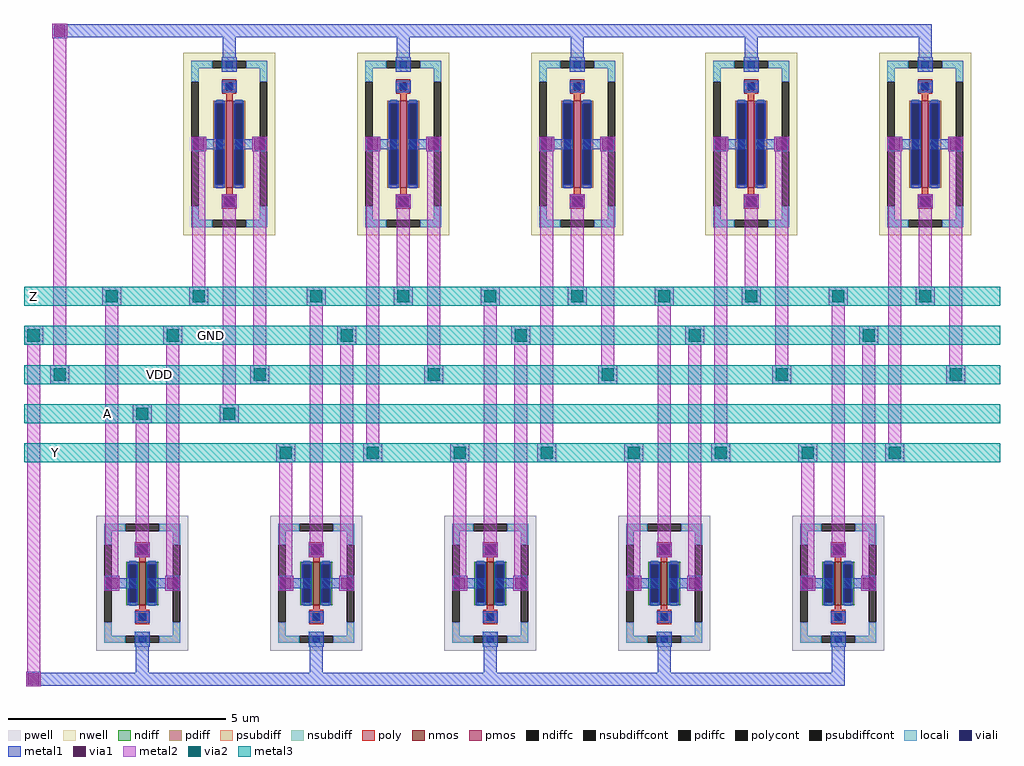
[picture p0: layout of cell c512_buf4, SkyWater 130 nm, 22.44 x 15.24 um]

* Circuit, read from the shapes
.subckt c512_buf4 Y A VDD GND
XM1 GND A Z GND sky130_fd_pr__nfet_01v8 w=1 l=0.15
XM2 GND Z Y GND sky130_fd_pr__nfet_01v8 w=1 l=0.15 m=4
XM3 VDD A Z VDD sky130_fd_pr__pfet_01v8 w=2 l=0.15
XM4 VDD Z Y VDD sky130_fd_pr__pfet_01v8 w=2 l=0.15 m=4
.ends

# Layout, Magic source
magic
tech sky130A
magscale 1 2
<< pwell >>
rect 389 -310 811 310
rect 1189 -310 1611 310
rect 1989 -310 2411 310
rect 2789 -310 3211 310
rect 3589 -310 4011 310
<< nmos >>
rect 585 -100 615 100
rect 1385 -100 1415 100
rect 2185 -100 2215 100
rect 2985 -100 3015 100
rect 3785 -100 3815 100
<< ndiff >>
rect 527 88 585 100
rect 527 -88 539 88
rect 573 -88 585 88
rect 527 -100 585 -88
rect 615 88 673 100
rect 615 -88 627 88
rect 661 -88 673 88
rect 615 -100 673 -88
rect 1327 88 1385 100
rect 1327 -88 1339 88
rect 1373 -88 1385 88
rect 1327 -100 1385 -88
rect 1415 88 1473 100
rect 1415 -88 1427 88
rect 1461 -88 1473 88
rect 1415 -100 1473 -88
rect 2127 88 2185 100
rect 2127 -88 2139 88
rect 2173 -88 2185 88
rect 2127 -100 2185 -88
rect 2215 88 2273 100
rect 2215 -88 2227 88
rect 2261 -88 2273 88
rect 2215 -100 2273 -88
rect 2927 88 2985 100
rect 2927 -88 2939 88
rect 2973 -88 2985 88
rect 2927 -100 2985 -88
rect 3015 88 3073 100
rect 3015 -88 3027 88
rect 3061 -88 3073 88
rect 3015 -100 3073 -88
rect 3727 88 3785 100
rect 3727 -88 3739 88
rect 3773 -88 3785 88
rect 3727 -100 3785 -88
rect 3815 88 3873 100
rect 3815 -88 3827 88
rect 3861 -88 3873 88
rect 3815 -100 3873 -88
<< ndiffc >>
rect 539 -88 573 88
rect 627 -88 661 88
rect 1339 -88 1373 88
rect 1427 -88 1461 88
rect 2139 -88 2173 88
rect 2227 -88 2261 88
rect 2939 -88 2973 88
rect 3027 -88 3061 88
rect 3739 -88 3773 88
rect 3827 -88 3861 88
<< psubdiff >>
rect 425 240 521 274
rect 679 240 775 274
rect 425 178 459 240
rect 741 178 775 240
rect 425 -240 459 -178
rect 741 -240 775 -178
rect 425 -274 521 -240
rect 679 -274 775 -240
rect 1225 240 1321 274
rect 1479 240 1575 274
rect 1225 178 1259 240
rect 1541 178 1575 240
rect 1225 -240 1259 -178
rect 1541 -240 1575 -178
rect 1225 -274 1321 -240
rect 1479 -274 1575 -240
rect 2025 240 2121 274
rect 2279 240 2375 274
rect 2025 178 2059 240
rect 2341 178 2375 240
rect 2025 -240 2059 -178
rect 2341 -240 2375 -178
rect 2025 -274 2121 -240
rect 2279 -274 2375 -240
rect 2825 240 2921 274
rect 3079 240 3175 274
rect 2825 178 2859 240
rect 3141 178 3175 240
rect 2825 -240 2859 -178
rect 3141 -240 3175 -178
rect 2825 -274 2921 -240
rect 3079 -274 3175 -240
rect 3625 240 3721 274
rect 3879 240 3975 274
rect 3625 178 3659 240
rect 3941 178 3975 240
rect 3625 -240 3659 -178
rect 3941 -240 3975 -178
rect 3625 -274 3721 -240
rect 3879 -274 3975 -240
<< psubdiffcont >>
rect 521 240 679 274
rect 425 -178 459 178
rect 741 -178 775 178
rect 521 -274 679 -240
rect 1321 240 1479 274
rect 1225 -178 1259 178
rect 1541 -178 1575 178
rect 1321 -274 1479 -240
rect 2121 240 2279 274
rect 2025 -178 2059 178
rect 2341 -178 2375 178
rect 2121 -274 2279 -240
rect 2921 240 3079 274
rect 2825 -178 2859 178
rect 3141 -178 3175 178
rect 2921 -274 3079 -240
rect 3721 240 3879 274
rect 3625 -178 3659 178
rect 3941 -178 3975 178
rect 3721 -274 3879 -240
<< poly >>
rect 567 172 633 188
rect 567 138 583 172
rect 617 138 633 172
rect 567 122 633 138
rect 585 100 615 122
rect 585 -122 615 -100
rect 567 -138 633 -122
rect 567 -172 583 -138
rect 617 -172 633 -138
rect 567 -188 633 -172
rect 967 2301 1033 2317
rect 967 2267 983 2301
rect 1017 2267 1033 2301
rect 967 2251 1033 2267
rect 985 2220 1015 2251
rect 985 1789 1015 1820
rect 967 1773 1033 1789
rect 967 1739 983 1773
rect 1017 1739 1033 1773
rect 967 1723 1033 1739
rect 1367 172 1433 188
rect 1367 138 1383 172
rect 1417 138 1433 172
rect 1367 122 1433 138
rect 1385 100 1415 122
rect 1385 -122 1415 -100
rect 1367 -138 1433 -122
rect 1367 -172 1383 -138
rect 1417 -172 1433 -138
rect 1367 -188 1433 -172
rect 1767 2301 1833 2317
rect 1767 2267 1783 2301
rect 1817 2267 1833 2301
rect 1767 2251 1833 2267
rect 1785 2220 1815 2251
rect 1785 1789 1815 1820
rect 1767 1773 1833 1789
rect 1767 1739 1783 1773
rect 1817 1739 1833 1773
rect 1767 1723 1833 1739
rect 2167 172 2233 188
rect 2167 138 2183 172
rect 2217 138 2233 172
rect 2167 122 2233 138
rect 2185 100 2215 122
rect 2185 -122 2215 -100
rect 2167 -138 2233 -122
rect 2167 -172 2183 -138
rect 2217 -172 2233 -138
rect 2167 -188 2233 -172
rect 2567 2301 2633 2317
rect 2567 2267 2583 2301
rect 2617 2267 2633 2301
rect 2567 2251 2633 2267
rect 2585 2220 2615 2251
rect 2585 1789 2615 1820
rect 2567 1773 2633 1789
rect 2567 1739 2583 1773
rect 2617 1739 2633 1773
rect 2567 1723 2633 1739
rect 2967 172 3033 188
rect 2967 138 2983 172
rect 3017 138 3033 172
rect 2967 122 3033 138
rect 2985 100 3015 122
rect 2985 -122 3015 -100
rect 2967 -138 3033 -122
rect 2967 -172 2983 -138
rect 3017 -172 3033 -138
rect 2967 -188 3033 -172
rect 3367 2301 3433 2317
rect 3367 2267 3383 2301
rect 3417 2267 3433 2301
rect 3367 2251 3433 2267
rect 3385 2220 3415 2251
rect 3385 1789 3415 1820
rect 3367 1773 3433 1789
rect 3367 1739 3383 1773
rect 3417 1739 3433 1773
rect 3367 1723 3433 1739
rect 3767 172 3833 188
rect 3767 138 3783 172
rect 3817 138 3833 172
rect 3767 122 3833 138
rect 3785 100 3815 122
rect 3785 -122 3815 -100
rect 3767 -138 3833 -122
rect 3767 -172 3783 -138
rect 3817 -172 3833 -138
rect 3767 -188 3833 -172
rect 4167 2301 4233 2317
rect 4167 2267 4183 2301
rect 4217 2267 4233 2301
rect 4167 2251 4233 2267
rect 4185 2220 4215 2251
rect 4185 1789 4215 1820
rect 4167 1773 4233 1789
rect 4167 1739 4183 1773
rect 4217 1739 4233 1773
rect 4167 1723 4233 1739
<< polycont >>
rect 583 138 617 172
rect 583 -172 617 -138
rect 983 2267 1017 2301
rect 983 1739 1017 1773
rect 1383 138 1417 172
rect 1383 -172 1417 -138
rect 1783 2267 1817 2301
rect 1783 1739 1817 1773
rect 2183 138 2217 172
rect 2183 -172 2217 -138
rect 2583 2267 2617 2301
rect 2583 1739 2617 1773
rect 2983 138 3017 172
rect 2983 -172 3017 -138
rect 3383 2267 3417 2301
rect 3383 1739 3417 1773
rect 3783 138 3817 172
rect 3783 -172 3817 -138
rect 4183 2267 4217 2301
rect 4183 1739 4217 1773
<< locali >>
rect 425 240 521 274
rect 679 240 775 274
rect 425 178 459 240
rect 741 178 775 240
rect 567 138 583 172
rect 617 138 633 172
rect 539 88 573 104
rect 539 -104 573 -88
rect 627 88 661 104
rect 627 -104 661 -88
rect 567 -172 583 -138
rect 617 -172 633 -138
rect 425 -240 459 -178
rect 741 -240 775 -178
rect 425 -274 521 -240
rect 679 -274 775 -240
rect 566 -291 634 -223
rect 825 2369 921 2403
rect 1079 2369 1175 2403
rect 825 2307 859 2369
rect 1141 2307 1175 2369
rect 967 2267 983 2301
rect 1017 2267 1033 2301
rect 939 2208 973 2224
rect 939 1816 973 1832
rect 1027 2208 1061 2224
rect 1027 1816 1061 1832
rect 967 1739 983 1773
rect 1017 1739 1033 1773
rect 825 1671 859 1733
rect 1141 1671 1175 1733
rect 825 1637 921 1671
rect 1079 1637 1175 1671
rect 966 2352 1034 2420
rect 1225 240 1321 274
rect 1479 240 1575 274
rect 1225 178 1259 240
rect 1541 178 1575 240
rect 1367 138 1383 172
rect 1417 138 1433 172
rect 1339 88 1373 104
rect 1339 -104 1373 -88
rect 1427 88 1461 104
rect 1427 -104 1461 -88
rect 1367 -172 1383 -138
rect 1417 -172 1433 -138
rect 1225 -240 1259 -178
rect 1541 -240 1575 -178
rect 1225 -274 1321 -240
rect 1479 -274 1575 -240
rect 1366 -291 1434 -223
rect 1625 2369 1721 2403
rect 1879 2369 1975 2403
rect 1625 2307 1659 2369
rect 1941 2307 1975 2369
rect 1767 2267 1783 2301
rect 1817 2267 1833 2301
rect 1739 2208 1773 2224
rect 1739 1816 1773 1832
rect 1827 2208 1861 2224
rect 1827 1816 1861 1832
rect 1767 1739 1783 1773
rect 1817 1739 1833 1773
rect 1625 1671 1659 1733
rect 1941 1671 1975 1733
rect 1625 1637 1721 1671
rect 1879 1637 1975 1671
rect 1766 2352 1834 2420
rect 2025 240 2121 274
rect 2279 240 2375 274
rect 2025 178 2059 240
rect 2341 178 2375 240
rect 2167 138 2183 172
rect 2217 138 2233 172
rect 2139 88 2173 104
rect 2139 -104 2173 -88
rect 2227 88 2261 104
rect 2227 -104 2261 -88
rect 2167 -172 2183 -138
rect 2217 -172 2233 -138
rect 2025 -240 2059 -178
rect 2341 -240 2375 -178
rect 2025 -274 2121 -240
rect 2279 -274 2375 -240
rect 2166 -291 2234 -223
rect 2425 2369 2521 2403
rect 2679 2369 2775 2403
rect 2425 2307 2459 2369
rect 2741 2307 2775 2369
rect 2567 2267 2583 2301
rect 2617 2267 2633 2301
rect 2539 2208 2573 2224
rect 2539 1816 2573 1832
rect 2627 2208 2661 2224
rect 2627 1816 2661 1832
rect 2567 1739 2583 1773
rect 2617 1739 2633 1773
rect 2425 1671 2459 1733
rect 2741 1671 2775 1733
rect 2425 1637 2521 1671
rect 2679 1637 2775 1671
rect 2566 2352 2634 2420
rect 2825 240 2921 274
rect 3079 240 3175 274
rect 2825 178 2859 240
rect 3141 178 3175 240
rect 2967 138 2983 172
rect 3017 138 3033 172
rect 2939 88 2973 104
rect 2939 -104 2973 -88
rect 3027 88 3061 104
rect 3027 -104 3061 -88
rect 2967 -172 2983 -138
rect 3017 -172 3033 -138
rect 2825 -240 2859 -178
rect 3141 -240 3175 -178
rect 2825 -274 2921 -240
rect 3079 -274 3175 -240
rect 2966 -291 3034 -223
rect 3225 2369 3321 2403
rect 3479 2369 3575 2403
rect 3225 2307 3259 2369
rect 3541 2307 3575 2369
rect 3367 2267 3383 2301
rect 3417 2267 3433 2301
rect 3339 2208 3373 2224
rect 3339 1816 3373 1832
rect 3427 2208 3461 2224
rect 3427 1816 3461 1832
rect 3367 1739 3383 1773
rect 3417 1739 3433 1773
rect 3225 1671 3259 1733
rect 3541 1671 3575 1733
rect 3225 1637 3321 1671
rect 3479 1637 3575 1671
rect 3366 2352 3434 2420
rect 3625 240 3721 274
rect 3879 240 3975 274
rect 3625 178 3659 240
rect 3941 178 3975 240
rect 3767 138 3783 172
rect 3817 138 3833 172
rect 3739 88 3773 104
rect 3739 -104 3773 -88
rect 3827 88 3861 104
rect 3827 -104 3861 -88
rect 3767 -172 3783 -138
rect 3817 -172 3833 -138
rect 3625 -240 3659 -178
rect 3941 -240 3975 -178
rect 3625 -274 3721 -240
rect 3879 -274 3975 -240
rect 3766 -291 3834 -223
rect 4025 2369 4121 2403
rect 4279 2369 4375 2403
rect 4025 2307 4059 2369
rect 4341 2307 4375 2369
rect 4167 2267 4183 2301
rect 4217 2267 4233 2301
rect 4139 2208 4173 2224
rect 4139 1816 4173 1832
rect 4227 2208 4261 2224
rect 4227 1816 4261 1832
rect 4167 1739 4183 1773
rect 4217 1739 4233 1773
rect 4025 1671 4059 1733
rect 4341 1671 4375 1733
rect 4025 1637 4121 1671
rect 4279 1637 4375 1671
rect 4166 2352 4234 2420
<< viali >>
rect 583 138 617 172
rect 539 -88 573 88
rect 627 -88 661 88
rect 583 -172 617 -138
rect 583 -274 617 -240
rect 983 2267 1017 2301
rect 939 1832 973 2208
rect 1027 1832 1061 2208
rect 983 1739 1017 1773
rect 983 2369 1017 2403
rect 1383 138 1417 172
rect 1339 -88 1373 88
rect 1427 -88 1461 88
rect 1383 -172 1417 -138
rect 1383 -274 1417 -240
rect 1783 2267 1817 2301
rect 1739 1832 1773 2208
rect 1827 1832 1861 2208
rect 1783 1739 1817 1773
rect 1783 2369 1817 2403
rect 2183 138 2217 172
rect 2139 -88 2173 88
rect 2227 -88 2261 88
rect 2183 -172 2217 -138
rect 2183 -274 2217 -240
rect 2583 2267 2617 2301
rect 2539 1832 2573 2208
rect 2627 1832 2661 2208
rect 2583 1739 2617 1773
rect 2583 2369 2617 2403
rect 2983 138 3017 172
rect 2939 -88 2973 88
rect 3027 -88 3061 88
rect 2983 -172 3017 -138
rect 2983 -274 3017 -240
rect 3383 2267 3417 2301
rect 3339 1832 3373 2208
rect 3427 1832 3461 2208
rect 3383 1739 3417 1773
rect 3383 2369 3417 2403
rect 3783 138 3817 172
rect 3739 -88 3773 88
rect 3827 -88 3861 88
rect 3783 -172 3817 -138
rect 3783 -274 3817 -240
rect 4183 2267 4217 2301
rect 4139 1832 4173 2208
rect 4227 1832 4261 2208
rect 4183 1739 4217 1773
rect 4183 2369 4217 2403
<< metal1 >>
rect 571 172 629 178
rect 571 138 583 172
rect 617 138 629 172
rect 571 132 629 138
rect 533 88 579 100
rect 533 -88 539 88
rect 573 -88 579 88
rect 533 -100 579 -88
rect 621 88 667 100
rect 621 -88 627 88
rect 661 -88 667 88
rect 621 -100 667 -88
rect 571 -138 629 -132
rect 571 -172 583 -138
rect 617 -172 629 -138
rect 571 -178 629 -172
rect 566 -181 634 -129
rect 566 129 634 181
rect 437 -23 579 23
rect 426 -34 494 34
rect 621 -23 763 23
rect 706 -34 774 34
rect 566 129 634 181
rect 566 -291 634 -223
rect 570 -470 630 -227
rect 971 2301 1029 2307
rect 971 2267 983 2301
rect 1017 2267 1029 2301
rect 971 2261 1029 2267
rect 933 2208 979 2220
rect 933 1832 939 2208
rect 973 1832 979 2208
rect 933 1820 979 1832
rect 1021 2208 1067 2220
rect 1021 1832 1027 2208
rect 1061 1832 1067 2208
rect 1021 1820 1067 1832
rect 971 1773 1029 1779
rect 971 1739 983 1773
rect 1017 1739 1029 1773
rect 971 1733 1029 1739
rect 966 1730 1034 1782
rect 966 2258 1034 2310
rect 837 1997 979 2043
rect 826 1986 894 2054
rect 1021 1997 1163 2043
rect 1106 1986 1174 2054
rect 966 1730 1034 1782
rect 966 2352 1034 2420
rect 970 2356 1030 2570
rect 1371 172 1429 178
rect 1371 138 1383 172
rect 1417 138 1429 172
rect 1371 132 1429 138
rect 1333 88 1379 100
rect 1333 -88 1339 88
rect 1373 -88 1379 88
rect 1333 -100 1379 -88
rect 1421 88 1467 100
rect 1421 -88 1427 88
rect 1461 -88 1467 88
rect 1421 -100 1467 -88
rect 1371 -138 1429 -132
rect 1371 -172 1383 -138
rect 1417 -172 1429 -138
rect 1371 -178 1429 -172
rect 1366 -181 1434 -129
rect 1366 129 1434 181
rect 1237 -23 1379 23
rect 1226 -34 1294 34
rect 1421 -23 1563 23
rect 1506 -34 1574 34
rect 1366 129 1434 181
rect 1366 -291 1434 -223
rect 1370 -470 1430 -227
rect 1771 2301 1829 2307
rect 1771 2267 1783 2301
rect 1817 2267 1829 2301
rect 1771 2261 1829 2267
rect 1733 2208 1779 2220
rect 1733 1832 1739 2208
rect 1773 1832 1779 2208
rect 1733 1820 1779 1832
rect 1821 2208 1867 2220
rect 1821 1832 1827 2208
rect 1861 1832 1867 2208
rect 1821 1820 1867 1832
rect 1771 1773 1829 1779
rect 1771 1739 1783 1773
rect 1817 1739 1829 1773
rect 1771 1733 1829 1739
rect 1766 1730 1834 1782
rect 1766 2258 1834 2310
rect 1637 1997 1779 2043
rect 1626 1986 1694 2054
rect 1821 1997 1963 2043
rect 1906 1986 1974 2054
rect 1766 1730 1834 1782
rect 1766 2352 1834 2420
rect 1770 2356 1830 2570
rect 2171 172 2229 178
rect 2171 138 2183 172
rect 2217 138 2229 172
rect 2171 132 2229 138
rect 2133 88 2179 100
rect 2133 -88 2139 88
rect 2173 -88 2179 88
rect 2133 -100 2179 -88
rect 2221 88 2267 100
rect 2221 -88 2227 88
rect 2261 -88 2267 88
rect 2221 -100 2267 -88
rect 2171 -138 2229 -132
rect 2171 -172 2183 -138
rect 2217 -172 2229 -138
rect 2171 -178 2229 -172
rect 2166 -181 2234 -129
rect 2166 129 2234 181
rect 2037 -23 2179 23
rect 2026 -34 2094 34
rect 2221 -23 2363 23
rect 2306 -34 2374 34
rect 2166 129 2234 181
rect 2166 -291 2234 -223
rect 2170 -470 2230 -227
rect 2571 2301 2629 2307
rect 2571 2267 2583 2301
rect 2617 2267 2629 2301
rect 2571 2261 2629 2267
rect 2533 2208 2579 2220
rect 2533 1832 2539 2208
rect 2573 1832 2579 2208
rect 2533 1820 2579 1832
rect 2621 2208 2667 2220
rect 2621 1832 2627 2208
rect 2661 1832 2667 2208
rect 2621 1820 2667 1832
rect 2571 1773 2629 1779
rect 2571 1739 2583 1773
rect 2617 1739 2629 1773
rect 2571 1733 2629 1739
rect 2566 1730 2634 1782
rect 2566 2258 2634 2310
rect 2437 1997 2579 2043
rect 2426 1986 2494 2054
rect 2621 1997 2763 2043
rect 2706 1986 2774 2054
rect 2566 1730 2634 1782
rect 2566 2352 2634 2420
rect 2570 2356 2630 2570
rect 2971 172 3029 178
rect 2971 138 2983 172
rect 3017 138 3029 172
rect 2971 132 3029 138
rect 2933 88 2979 100
rect 2933 -88 2939 88
rect 2973 -88 2979 88
rect 2933 -100 2979 -88
rect 3021 88 3067 100
rect 3021 -88 3027 88
rect 3061 -88 3067 88
rect 3021 -100 3067 -88
rect 2971 -138 3029 -132
rect 2971 -172 2983 -138
rect 3017 -172 3029 -138
rect 2971 -178 3029 -172
rect 2966 -181 3034 -129
rect 2966 129 3034 181
rect 2837 -23 2979 23
rect 2826 -34 2894 34
rect 3021 -23 3163 23
rect 3106 -34 3174 34
rect 2966 129 3034 181
rect 2966 -291 3034 -223
rect 2970 -470 3030 -227
rect 3371 2301 3429 2307
rect 3371 2267 3383 2301
rect 3417 2267 3429 2301
rect 3371 2261 3429 2267
rect 3333 2208 3379 2220
rect 3333 1832 3339 2208
rect 3373 1832 3379 2208
rect 3333 1820 3379 1832
rect 3421 2208 3467 2220
rect 3421 1832 3427 2208
rect 3461 1832 3467 2208
rect 3421 1820 3467 1832
rect 3371 1773 3429 1779
rect 3371 1739 3383 1773
rect 3417 1739 3429 1773
rect 3371 1733 3429 1739
rect 3366 1730 3434 1782
rect 3366 2258 3434 2310
rect 3237 1997 3379 2043
rect 3226 1986 3294 2054
rect 3421 1997 3563 2043
rect 3506 1986 3574 2054
rect 3366 1730 3434 1782
rect 3366 2352 3434 2420
rect 3370 2356 3430 2570
rect 3771 172 3829 178
rect 3771 138 3783 172
rect 3817 138 3829 172
rect 3771 132 3829 138
rect 3733 88 3779 100
rect 3733 -88 3739 88
rect 3773 -88 3779 88
rect 3733 -100 3779 -88
rect 3821 88 3867 100
rect 3821 -88 3827 88
rect 3861 -88 3867 88
rect 3821 -100 3867 -88
rect 3771 -138 3829 -132
rect 3771 -172 3783 -138
rect 3817 -172 3829 -138
rect 3771 -178 3829 -172
rect 3766 -181 3834 -129
rect 3766 129 3834 181
rect 3637 -23 3779 23
rect 3626 -34 3694 34
rect 3821 -23 3963 23
rect 3906 -34 3974 34
rect 3766 129 3834 181
rect 3766 -291 3834 -223
rect 3770 -470 3830 -227
rect 4171 2301 4229 2307
rect 4171 2267 4183 2301
rect 4217 2267 4229 2301
rect 4171 2261 4229 2267
rect 4133 2208 4179 2220
rect 4133 1832 4139 2208
rect 4173 1832 4179 2208
rect 4133 1820 4179 1832
rect 4221 2208 4267 2220
rect 4221 1832 4227 2208
rect 4261 1832 4267 2208
rect 4221 1820 4267 1832
rect 4171 1773 4229 1779
rect 4171 1739 4183 1773
rect 4217 1739 4229 1773
rect 4171 1733 4229 1739
rect 4166 1730 4234 1782
rect 4166 2258 4234 2310
rect 4037 1997 4179 2043
rect 4026 1986 4094 2054
rect 4221 1997 4363 2043
rect 4306 1986 4374 2054
rect 4166 1730 4234 1782
rect 4166 2352 4234 2420
rect 4170 2356 4230 2570
rect 70 -470 3830 -410
rect 66 -474 134 -406
rect 190 2510 4230 2570
rect 186 2506 254 2574
<< via1 >>
rect 434 -26 486 26
rect 714 -26 766 26
rect 574 129 626 181
rect 834 1994 886 2046
rect 1114 1994 1166 2046
rect 974 1730 1026 1782
rect 1234 -26 1286 26
rect 1514 -26 1566 26
rect 1374 129 1426 181
rect 1634 1994 1686 2046
rect 1914 1994 1966 2046
rect 1774 1730 1826 1782
rect 2034 -26 2086 26
rect 2314 -26 2366 26
rect 2174 129 2226 181
rect 2434 1994 2486 2046
rect 2714 1994 2766 2046
rect 2574 1730 2626 1782
rect 2834 -26 2886 26
rect 3114 -26 3166 26
rect 2974 129 3026 181
rect 3234 1994 3286 2046
rect 3514 1994 3566 2046
rect 3374 1730 3426 1782
rect 3634 -26 3686 26
rect 3914 -26 3966 26
rect 3774 129 3826 181
rect 4034 1994 4086 2046
rect 4314 1994 4366 2046
rect 4174 1730 4226 1782
rect 74 -466 126 -414
rect 194 2514 246 2566
<< metal2 >>
rect 426 -34 494 34
rect 706 -34 774 34
rect 566 121 634 189
rect 826 1986 894 2054
rect 1106 1986 1174 2054
rect 966 1722 1034 1790
rect 1226 -34 1294 34
rect 1506 -34 1574 34
rect 1366 121 1434 189
rect 1626 1986 1694 2054
rect 1906 1986 1974 2054
rect 1766 1722 1834 1790
rect 2026 -34 2094 34
rect 2306 -34 2374 34
rect 2166 121 2234 189
rect 2426 1986 2494 2054
rect 2706 1986 2774 2054
rect 2566 1722 2634 1790
rect 2826 -34 2894 34
rect 3106 -34 3174 34
rect 2966 121 3034 189
rect 3226 1986 3294 2054
rect 3506 1986 3574 2054
rect 3366 1722 3434 1790
rect 3626 -34 3694 34
rect 3906 -34 3974 34
rect 3766 121 3834 189
rect 4026 1986 4094 2054
rect 4306 1986 4374 2054
rect 4166 1722 4234 1790
rect 66 -474 134 -406
rect 186 2506 254 2574
rect 430 -30 490 1350
rect 416 1276 504 1364
rect 830 1290 890 2050
rect 816 1276 904 1364
rect 1370 125 1430 1350
rect 1356 1276 1444 1364
rect 1770 1290 1830 1786
rect 1756 1276 1844 1364
rect 2170 125 2230 1350
rect 2156 1276 2244 1364
rect 2570 1290 2630 1786
rect 2556 1276 2644 1364
rect 2970 125 3030 1350
rect 2956 1276 3044 1364
rect 3370 1290 3430 1786
rect 3356 1276 3444 1364
rect 3770 125 3830 1350
rect 3756 1276 3844 1364
rect 4170 1290 4230 1786
rect 4156 1276 4244 1364
rect 710 -30 770 1170
rect 696 1096 784 1184
rect 1510 -30 1570 1170
rect 1496 1096 1584 1184
rect 2310 -30 2370 1170
rect 2296 1096 2384 1184
rect 3110 -30 3170 1170
rect 3096 1096 3184 1184
rect 3910 -30 3970 1170
rect 3896 1096 3984 1184
rect 70 -470 130 1170
rect 56 1096 144 1184
rect 570 125 630 810
rect 556 736 644 824
rect 970 750 1030 1786
rect 956 736 1044 824
rect 1110 930 1170 2050
rect 1096 916 1184 1004
rect 1910 930 1970 2050
rect 1896 916 1984 1004
rect 2710 930 2770 2050
rect 2696 916 2784 1004
rect 3510 930 3570 2050
rect 3496 916 3584 1004
rect 4310 930 4370 2050
rect 4296 916 4384 1004
rect 190 930 250 2570
rect 176 916 264 1004
rect 1230 -30 1290 630
rect 1216 556 1304 644
rect 1630 570 1690 2050
rect 1616 556 1704 644
rect 2030 -30 2090 630
rect 2016 556 2104 644
rect 2430 570 2490 2050
rect 2416 556 2504 644
rect 2830 -30 2890 630
rect 2816 556 2904 644
rect 3230 570 3290 2050
rect 3216 556 3304 644
rect 3630 -30 3690 630
rect 3616 556 3704 644
rect 4030 570 4090 2050
rect 4016 556 4104 644
<< nwell >>
rect 789 1601 1211 2439
rect 1589 1601 2011 2439
rect 2389 1601 2811 2439
rect 3189 1601 3611 2439
rect 3989 1601 4411 2439
<< pmos >>
rect 985 1820 1015 2220
rect 1785 1820 1815 2220
rect 2585 1820 2615 2220
rect 3385 1820 3415 2220
rect 4185 1820 4215 2220
<< pdiff >>
rect 927 2208 985 2220
rect 927 1832 939 2208
rect 973 1832 985 2208
rect 927 1820 985 1832
rect 1015 2208 1073 2220
rect 1015 1832 1027 2208
rect 1061 1832 1073 2208
rect 1015 1820 1073 1832
rect 1727 2208 1785 2220
rect 1727 1832 1739 2208
rect 1773 1832 1785 2208
rect 1727 1820 1785 1832
rect 1815 2208 1873 2220
rect 1815 1832 1827 2208
rect 1861 1832 1873 2208
rect 1815 1820 1873 1832
rect 2527 2208 2585 2220
rect 2527 1832 2539 2208
rect 2573 1832 2585 2208
rect 2527 1820 2585 1832
rect 2615 2208 2673 2220
rect 2615 1832 2627 2208
rect 2661 1832 2673 2208
rect 2615 1820 2673 1832
rect 3327 2208 3385 2220
rect 3327 1832 3339 2208
rect 3373 1832 3385 2208
rect 3327 1820 3385 1832
rect 3415 2208 3473 2220
rect 3415 1832 3427 2208
rect 3461 1832 3473 2208
rect 3415 1820 3473 1832
rect 4127 2208 4185 2220
rect 4127 1832 4139 2208
rect 4173 1832 4185 2208
rect 4127 1820 4185 1832
rect 4215 2208 4273 2220
rect 4215 1832 4227 2208
rect 4261 1832 4273 2208
rect 4215 1820 4273 1832
<< pdiffc >>
rect 939 1832 973 2208
rect 1027 1832 1061 2208
rect 1739 1832 1773 2208
rect 1827 1832 1861 2208
rect 2539 1832 2573 2208
rect 2627 1832 2661 2208
rect 3339 1832 3373 2208
rect 3427 1832 3461 2208
rect 4139 1832 4173 2208
rect 4227 1832 4261 2208
<< nsubdiff >>
rect 825 2369 921 2403
rect 1079 2369 1175 2403
rect 825 2307 859 2369
rect 1141 2307 1175 2369
rect 825 1671 859 1733
rect 1141 1671 1175 1733
rect 825 1637 921 1671
rect 1079 1637 1175 1671
rect 1625 2369 1721 2403
rect 1879 2369 1975 2403
rect 1625 2307 1659 2369
rect 1941 2307 1975 2369
rect 1625 1671 1659 1733
rect 1941 1671 1975 1733
rect 1625 1637 1721 1671
rect 1879 1637 1975 1671
rect 2425 2369 2521 2403
rect 2679 2369 2775 2403
rect 2425 2307 2459 2369
rect 2741 2307 2775 2369
rect 2425 1671 2459 1733
rect 2741 1671 2775 1733
rect 2425 1637 2521 1671
rect 2679 1637 2775 1671
rect 3225 2369 3321 2403
rect 3479 2369 3575 2403
rect 3225 2307 3259 2369
rect 3541 2307 3575 2369
rect 3225 1671 3259 1733
rect 3541 1671 3575 1733
rect 3225 1637 3321 1671
rect 3479 1637 3575 1671
rect 4025 2369 4121 2403
rect 4279 2369 4375 2403
rect 4025 2307 4059 2369
rect 4341 2307 4375 2369
rect 4025 1671 4059 1733
rect 4341 1671 4375 1733
rect 4025 1637 4121 1671
rect 4279 1637 4375 1671
<< nsubdiffcont >>
rect 921 2369 1079 2403
rect 825 1733 859 2307
rect 1141 1733 1175 2307
rect 921 1637 1079 1671
rect 1721 2369 1879 2403
rect 1625 1733 1659 2307
rect 1941 1733 1975 2307
rect 1721 1637 1879 1671
rect 2521 2369 2679 2403
rect 2425 1733 2459 2307
rect 2741 1733 2775 2307
rect 2521 1637 2679 1671
rect 3321 2369 3479 2403
rect 3225 1733 3259 2307
rect 3541 1733 3575 2307
rect 3321 1637 3479 1671
rect 4121 2369 4279 2403
rect 4025 1733 4059 2307
rect 4341 1733 4375 2307
rect 4121 1637 4279 1671
<< metal3 >>
rect 56 1276 4544 1364
rect 416 1276 504 1364
rect 816 1276 904 1364
rect 1356 1276 1444 1364
rect 1756 1276 1844 1364
rect 2156 1276 2244 1364
rect 2556 1276 2644 1364
rect 2956 1276 3044 1364
rect 3356 1276 3444 1364
rect 3756 1276 3844 1364
rect 4156 1276 4244 1364
rect 56 1096 4544 1184
rect 696 1096 784 1184
rect 1496 1096 1584 1184
rect 2296 1096 2384 1184
rect 3096 1096 3184 1184
rect 3896 1096 3984 1184
rect 56 1096 144 1184
rect 56 736 4544 824
rect 556 736 644 824
rect 956 736 1044 824
rect 56 916 4544 1004
rect 1096 916 1184 1004
rect 1896 916 1984 1004
rect 2696 916 2784 1004
rect 3496 916 3584 1004
rect 4296 916 4384 1004
rect 176 916 264 1004
rect 56 556 4544 644
rect 1216 556 1304 644
rect 1616 556 1704 644
rect 2016 556 2104 644
rect 2416 556 2504 644
rect 2816 556 2904 644
rect 3216 556 3304 644
rect 3616 556 3704 644
rect 4016 556 4104 644
<< via2 >>
rect 432 1292 488 1348
rect 832 1292 888 1348
rect 1372 1292 1428 1348
rect 1772 1292 1828 1348
rect 2172 1292 2228 1348
rect 2572 1292 2628 1348
rect 2972 1292 3028 1348
rect 3372 1292 3428 1348
rect 3772 1292 3828 1348
rect 4172 1292 4228 1348
rect 712 1112 768 1168
rect 1512 1112 1568 1168
rect 2312 1112 2368 1168
rect 3112 1112 3168 1168
rect 3912 1112 3968 1168
rect 72 1112 128 1168
rect 572 752 628 808
rect 972 752 1028 808
rect 1112 932 1168 988
rect 1912 932 1968 988
rect 2712 932 2768 988
rect 3512 932 3568 988
rect 4312 932 4368 988
rect 192 932 248 988
rect 1232 572 1288 628
rect 1632 572 1688 628
rect 2032 572 2088 628
rect 2432 572 2488 628
rect 2832 572 2888 628
rect 3232 572 3288 628
rect 3632 572 3688 628
rect 4032 572 4088 628
<< labels >>
rlabel metal3 100 1320 100 1320 0 Z
rlabel metal3 920 1140 920 1140 0 GND
port 4 nsew signal bidirectional
rlabel metal3 440 780 440 780 0 A
port 2 nsew signal bidirectional
rlabel metal3 680 960 680 960 0 VDD
port 3 nsew signal bidirectional
rlabel metal3 200 600 200 600 0 Y
port 1 nsew signal bidirectional
<< end >>
